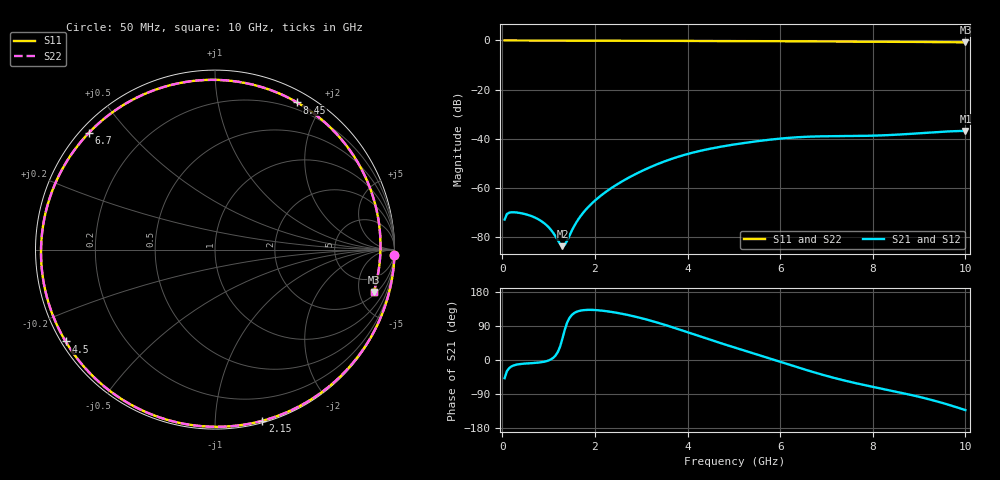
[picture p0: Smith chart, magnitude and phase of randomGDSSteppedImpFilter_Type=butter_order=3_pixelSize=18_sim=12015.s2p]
! freq	dB(S11)	phase(S11)	dB(S12)	phase(S12)
!  dB(S21)	phase(S21)	dB(S22)	phase(S22)
!S-par simulation data
#  GHz  S  DB  R 50
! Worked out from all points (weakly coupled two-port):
!   200 points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, 50 MHz to 10 GHz, reference 50 ohm
!   highest |S21| = -36.77 dB at 10 GHz (marker M1); lowest = -83.6 dB at 1.3 GHz (marker M2)
!   lowest |S11| = -0.8 dB at 10 GHz (marker M3), VSWR 22.74, Z = 117 - j342 ohm
!   |S11| at or under -10 dB: nowhere
!   |S22| runs from -0.8 to 0.0 dB; largest |S21 - S12| = 0
!   S11 on the Smith chart (normalised r, x): 50 MHz: 0, -64; 2.15 GHz: 0.01, -1.31; 4.5 GHz: 0.01, -0.28; 6.7 GHz: 0.02, +0.39; 8.45 GHz: 0.12, +1.70; 10 GHz: 2.34, -6.84
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0.05  -0.00 -1.8  -72.77 -48.0  -72.77 -48.0  -0.00 -1.8
0.1  -0.00 -3.6  -70.51 -29.5  -70.51 -29.5  -0.00 -3.6
0.15  -0.00 -5.4  -69.97 -21.2  -69.97 -21.2  -0.00 -5.4
0.55  -0.02 -19.7  -70.84 -8.9  -70.84 -8.9  -0.02 -19.7
0.9  -0.04 -32.1  -74.18 -4.7  -74.18 -4.7  -0.04 -32.1
1.15  -0.05 -40.8  -79.59 11.9  -79.59 11.9  -0.05 -40.8
1.3  -0.06 -45.9  -83.57 57.1  -83.57 57.1  -0.06 -45.9
1.45  -0.06 -51.1  -79.28 110.9  -79.28 110.9  -0.06 -51.1
1.75  -0.08 -61.2  -69.92 131.5  -69.92 131.5  -0.08 -61.2
2.15  -0.09 -74.5  -62.73 130.3  -62.73 130.3  -0.09 -74.5
2.75  -0.12 -93.9  -55.53 117.8  -55.53 117.8  -0.12 -93.9
3.4  -0.14 -114.4  -49.88 96.9  -49.88 96.9  -0.14 -114.3
4.5  -0.20 -148.4  -43.94 53.0  -43.94 53.0  -0.20 -148.4
5.05  -0.24 -165.7  -42.14 31.6  -42.14 31.6  -0.24 -165.7
5.9  -0.30 166.2  -40.06 -0.7  -40.06 -0.7  -0.30 166.2
6.7  -0.38 137.1  -39.04 -31.3  -39.04 -31.3  -0.38 137.2
7.6  -0.46 100.1  -38.82 -60.2  -38.82 -60.2  -0.46 100.2
8.35  -0.54 65.6  -38.44 -79.7  -38.44 -79.7  -0.54 65.7
8.45  -0.55 60.8  -38.35 -82.2  -38.35 -82.2  -0.55 60.9
9.25  -0.64 21.4  -37.38 -104.8  -37.38 -104.8  -0.64 21.5
9.6  -0.69 4.3  -36.98 -116.8  -36.98 -116.8  -0.69 4.3
10  -0.76 -14.9  -36.77 -132.2  -36.77 -132.2  -0.76 -14.9
